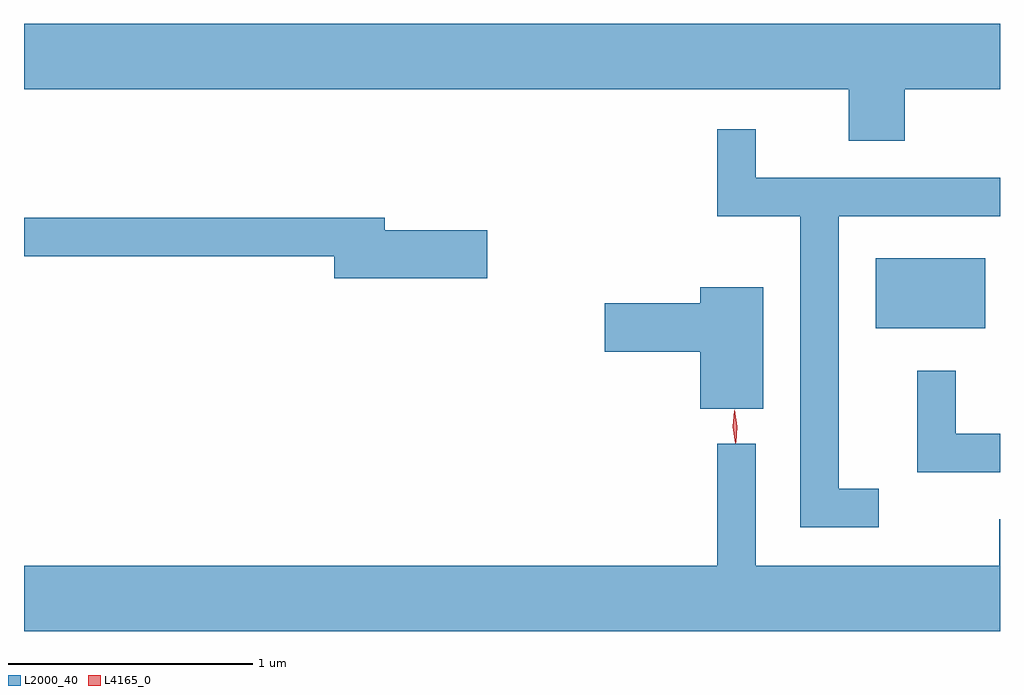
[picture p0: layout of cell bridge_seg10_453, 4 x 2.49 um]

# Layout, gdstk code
import gdstk
lib = gdstk.Library(unit=1e-6, precision=1e-09)
def R(c, l, rs):  # rectangles x0, y0, x1, y1
    for r in rs: c.add(gdstk.rectangle(r[:2], r[2:], *l))
def P(c, l, *ps):  # polygons
    for p in ps: c.add(gdstk.Polygon(p, *l))
L2000_40 = (2000, 40)
L4165_0 = (4165, 0)

bridge_seg10_453 = lib.new_cell('bridge_seg10_453')
R(bridge_seg10_453, L2000_40, [(1333.036,2146.236,1333.484,2146.524)])
P(bridge_seg10_453, L2000_40, [(1333.154,2147.216),(1333.545,2147.216),(1333.545,2147.484),(1329.545,2147.484),(1329.545,2147.216),(1332.926,2147.216),(1332.926,2147.006),(1333.154,2147.006)],
  [(1333.048,2145.579),(1332.884,2145.579),(1332.884,2146.696),(1333.545,2146.696),(1333.545,2146.854),(1332.544,2146.854),(1332.544,2147.053),(1332.386,2147.053),(1332.386,2146.696),(1332.726,2146.696),(1332.726,2145.421),(1333.048,2145.421)],
  [(1331.444,2146.639),(1331.024,2146.639),(1331.024,2146.689),(1329.545,2146.689),(1329.545,2146.531),(1330.816,2146.531),(1330.816,2146.441),(1331.444,2146.441)],
  [(1332.574,2146.404),(1332.316,2146.404),(1332.316,2146.339),(1331.926,2146.339),(1331.926,2146.141),(1332.316,2146.141),(1332.316,2145.906),(1332.574,2145.906)],
  [(1333.545,2145.804),(1333.364,2145.804),(1333.364,2146.063),(1333.206,2146.063),(1333.206,2145.646),(1333.545,2145.646)],
  [(1333.545,2145.454),(1333.541,2145.454),(1333.541,2145.264),(1332.544,2145.264),(1332.544,2145.763),(1332.386,2145.763),(1332.386,2145.264),(1329.545,2145.264),(1329.545,2144.996),(1333.545,2144.996)])
P(bridge_seg10_453, L4165_0, [(1332.463,2145.768),(1332.463,2145.769),(1332.449,2145.833),(1332.455,2145.899),(1332.455,2145.899),(1332.456,2145.899),(1332.469,2145.834),(1332.464,2145.769)],
  [(1332.46,2145.765),(1332.46,2145.765),(1332.449,2145.833),(1332.457,2145.902),(1332.458,2145.902),(1332.458,2145.902),(1332.469,2145.834),(1332.461,2145.765)])

lib.write_gds('bridge_seg10_453.gds')
